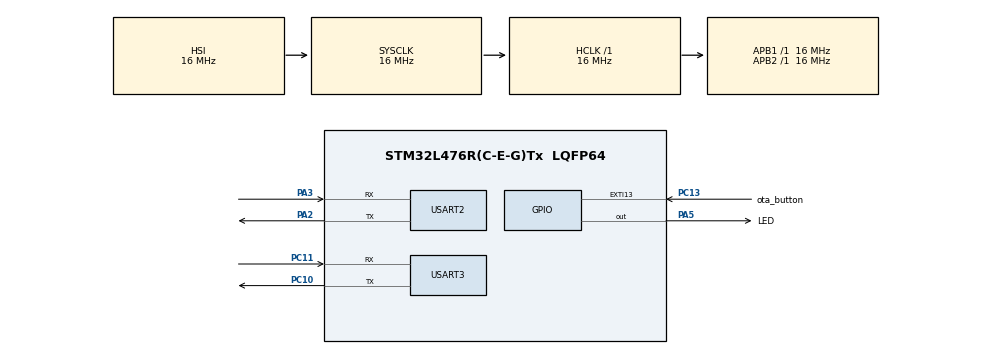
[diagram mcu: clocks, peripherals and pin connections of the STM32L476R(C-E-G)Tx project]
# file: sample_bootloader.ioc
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Mcu.Family=STM32L4
Mcu.Name=STM32L476R(C-E-G)Tx
Mcu.Package=LQFP64
NVIC.EXTI15_10_IRQn=true\:0\:0\:false\:false\:true\:true\:true
NVIC.PriorityGroup=NVIC_PRIORITYGROUP_4
NVIC.USART2_IRQn=true\:0\:0\:false\:false\:true\:true\:true
NVIC.USART3_IRQn=true\:0\:0\:false\:false\:true\:true\:true
PA13\ (JTMS-SWDIO).Mode=Serial_Wire
PA13\ (JTMS-SWDIO).Signal=SYS_JTMS-SWDIO
PA14\ (JTCK-SWCLK).Mode=Serial_Wire
PA14\ (JTCK-SWCLK).Signal=SYS_JTCK-SWCLK
PA2.Mode=Asynchronous
PA2.Signal=USART2_TX
PA3.Mode=Asynchronous
PA3.Signal=USART2_RX
PA5.GPIO_Label=LED
PA5.Signal=GPIO_Output
PC10.Mode=Asynchronous
PC10.Signal=USART3_TX
PC11.Mode=Asynchronous
PC11.Signal=USART3_RX
PC13.GPIO_Label=ota_button
PC13.GPIO_PuPd=GPIO_PULLUP
PC13.Signal=GPXTI13
ProjectManager.HeapSize=0x200
ProjectManager.StackSize=0x400
ProjectManager.TargetToolchain=STM32CubeIDE
RCC.AHBFreq_Value=16000000
RCC.APB1Freq_Value=16000000
RCC.APB1TimFreq_Value=16000000
RCC.APB2Freq_Value=16000000
RCC.APB2TimFreq_Value=16000000
RCC.CortexFreq_Value=16000000
RCC.HCLKFreq_Value=16000000
RCC.HSE_VALUE=8000000
RCC.HSI_VALUE=16000000
RCC.LSE_VALUE=32768
RCC.MSI_VALUE=4000000
RCC.SYSCLKFreq_VALUE=16000000
RCC.SYSCLKSource=RCC_SYSCLKSOURCE_HSI
RCC.VCOOutputFreq_Value=32000000
USART2.VirtualMode-Asynchronous=VM_ASYNC
USART3.VirtualMode-Asynchronous=VM_ASYNC
board=custom

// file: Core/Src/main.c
/* USER CODE BEGIN Header */
/**
  ******************************************************************************
  * @file           : main.c
  * @brief          : Main program body
  ******************************************************************************
  * @attention
  *
  * <h2><center>&copy; Copyright (c) 2021 STMicroelectronics.
  * All rights reserved.</center></h2>
  *
  * This software component is licensed by ST under BSD 3-Clause license,
  * the "License"; You may not use this file except in compliance with the
  * License. You may obtain a copy of the License at:
  *                        opensource.org/licenses/BSD-3-Clause
  *
  ******************************************************************************
  */
/* USER CODE END Header */
#include "main.h"

/* USER CODE BEGIN Includes */
#include <stdio.h>
#include <stdbool.h>
#include <string.h>
#include <stdlib.h>
#include "bootloader_app.h"
/* USER CODE END Includes */

UART_HandleTypeDef huart2;
UART_HandleTypeDef huart3;

/* USER CODE BEGIN PV */

bool application_start = 0;

uint16_t rx_data[8] ={0};
extern uint16_t ota_process_data[8];
extern bool START_OTA_PROCESS;

/* OTA UPDATE requested , total number of packets to be sent
 * OTA_WRITE requested , packet_data */
/* USER CODE END PV */

void SystemClock_Config(void);
static void MX_GPIO_Init(void);
static void MX_USART2_UART_Init(void);
static void MX_USART3_UART_Init(void);

/* USER CODE BEGIN 0 */
//PC10 (USART3_TX) available on CN7 pin 1 to CN3 pin RX
//• PC11 (USART3_RX) available on CN7 pin 2 to CN3 pin RX
/* USER CODE END 0 */

int main(void)
{

  /* MCU Configuration--------------------------------------------------------*/

  /* Reset of all peripherals, Initializes the Flash interface and the Systick. */
  HAL_Init();

  /* Configure the system clock */
  SystemClock_Config();

  /* Initialize all configured peripherals */
  MX_GPIO_Init();
  MX_USART2_UART_Init();
  MX_USART3_UART_Init();
  /* USER CODE BEGIN 2 */
  HAL_GPIO_WritePin (GPIOA, GPIO_PIN_5, GPIO_PIN_RESET);
  HAL_Delay (1000);
  HAL_UART_Receive_IT(&huart3, rx_data, 10);
  /* USER CODE END 2 */

  /* Infinite loop */
  /* USER CODE BEGIN WHILE */
  while (1)
  {
	  if (application_start){
		  application_start = 0;
		  if(Bootloader_CheckForApplication() == 0){
//			  MX_GPIO_DeInit();
			  go_to_application();
		  }
	  }
	 bootloader_process_received_packet_frame();
	 bootloader_process_fsm();
    /* USER CODE END WHILE */

  }
}

void SystemClock_Config(void)
{
  RCC_OscInitTypeDef RCC_OscInitStruct = {0};
  RCC_ClkInitTypeDef RCC_ClkInitStruct = {0};

  /** Configure the main internal regulator output voltage
  */
  if (HAL_PWREx_ControlVoltageScaling(PWR_REGULATOR_VOLTAGE_SCALE1) != HAL_OK)
  {
    Error_Handler();
  }
  /** Initializes the RCC Oscillators according to the specified parameters
  * in the RCC_OscInitTypeDef structure.
  */
  RCC_OscInitStruct.OscillatorType = RCC_OSCILLATORTYPE_HSI;
  RCC_OscInitStruct.HSIState = RCC_HSI_ON;
  RCC_OscInitStruct.HSICalibrationValue = RCC_HSICALIBRATION_DEFAULT;
  RCC_OscInitStruct.PLL.PLLState = RCC_PLL_NONE;
  if (HAL_RCC_OscConfig(&RCC_OscInitStruct) != HAL_OK)
  {
    Error_Handler();
  }
  /** Initializes the CPU, AHB and APB buses clocks
  */
  RCC_ClkInitStruct.ClockType = RCC_CLOCKTYPE_HCLK|RCC_CLOCKTYPE_SYSCLK
                              |RCC_CLOCKTYPE_PCLK1|RCC_CLOCKTYPE_PCLK2;
  RCC_ClkInitStruct.SYSCLKSource = RCC_SYSCLKSOURCE_HSI;
  RCC_ClkInitStruct.AHBCLKDivider = RCC_SYSCLK_DIV1;
  RCC_ClkInitStruct.APB1CLKDivider = RCC_HCLK_DIV1;
  RCC_ClkInitStruct.APB2CLKDivider = RCC_HCLK_DIV1;

  if (HAL_RCC_ClockConfig(&RCC_ClkInitStruct, FLASH_LATENCY_0) != HAL_OK)
  {
    Error_Handler();
  }
}

static void MX_USART2_UART_Init(void)
{

  huart2.Instance = USART2;
  huart2.Init.BaudRate = 115200;
  huart2.Init.WordLength = UART_WORDLENGTH_8B;
  huart2.Init.StopBits = UART_STOPBITS_1;
  huart2.Init.Parity = UART_PARITY_NONE;
  huart2.Init.Mode = UART_MODE_TX_RX;
  huart2.Init.HwFlowCtl = UART_HWCONTROL_NONE;
  huart2.Init.OverSampling = UART_OVERSAMPLING_16;
  huart2.Init.OneBitSampling = UART_ONE_BIT_SAMPLE_DISABLE;
  huart2.AdvancedInit.AdvFeatureInit = UART_ADVFEATURE_NO_INIT;
  if (HAL_UART_Init(&huart2) != HAL_OK)
  {
    Error_Handler();
  }

}

static void MX_USART3_UART_Init(void)
{

  huart3.Instance = USART3;
  huart3.Init.BaudRate = 115200;
  huart3.Init.WordLength = UART_WORDLENGTH_8B;
  huart3.Init.StopBits = UART_STOPBITS_1;
  huart3.Init.Parity = UART_PARITY_NONE;
  huart3.Init.Mode = UART_MODE_TX_RX;
  huart3.Init.HwFlowCtl = UART_HWCONTROL_NONE;
  huart3.Init.OverSampling = UART_OVERSAMPLING_16;
  huart3.Init.OneBitSampling = UART_ONE_BIT_SAMPLE_DISABLE;
  huart3.AdvancedInit.AdvFeatureInit = UART_ADVFEATURE_NO_INIT;
  if (HAL_UART_Init(&huart3) != HAL_OK)
  {
    Error_Handler();
  }

}

static void MX_GPIO_Init(void)
{
  GPIO_InitTypeDef GPIO_InitStruct = {0};

  /* GPIO Ports Clock Enable */
  __HAL_RCC_GPIOC_CLK_ENABLE();
  __HAL_RCC_GPIOA_CLK_ENABLE();

  /*Configure GPIO pin Output Level */
  HAL_GPIO_WritePin(LED_GPIO_Port, LED_Pin, GPIO_PIN_RESET);

  /*Configure GPIO pin : ota_button_Pin */
  GPIO_InitStruct.Pin = ota_button_Pin;
  GPIO_InitStruct.Mode = GPIO_MODE_IT_RISING;
  GPIO_InitStruct.Pull = GPIO_PULLUP;
  HAL_GPIO_Init(ota_button_GPIO_Port, &GPIO_InitStruct);

  /*Configure GPIO pin : LED_Pin */
  GPIO_InitStruct.Pin = LED_Pin;
  GPIO_InitStruct.Mode = GPIO_MODE_OUTPUT_PP;
  GPIO_InitStruct.Pull = GPIO_NOPULL;
  GPIO_InitStruct.Speed = GPIO_SPEED_FREQ_LOW;
  HAL_GPIO_Init(LED_GPIO_Port, &GPIO_InitStruct);

  /* EXTI interrupt init*/
  HAL_NVIC_SetPriority(EXTI15_10_IRQn, 0, 0);
  HAL_NVIC_EnableIRQ(EXTI15_10_IRQn);

}

/* USER CODE BEGIN 4 */

void MX_GPIO_DeInit(void)
{
  /* EXTI interrupt init*/
  //HAL_NVIC_SetPriority(EXTI9_5_IRQn, 0, 0);
  HAL_NVIC_DisableIRQ(EXTI15_10_IRQn);

  /* GPIO Ports Clock Enable */
  __HAL_RCC_GPIOA_CLK_DISABLE();
  __HAL_RCC_GPIOC_CLK_DISABLE();

  /*Configure GPIO pin : LED_Pin */
  HAL_GPIO_DeInit(LED_GPIO_Port, LED_Pin);
  HAL_GPIO_DeInit(ota_button_GPIO_Port, ota_button_Pin);

}
void HAL_GPIO_EXTI_Callback(uint16_t GPIO_Pin){
	if(GPIO_Pin == ota_button_Pin){
		application_start = 1;
	}
}
void HAL_UART_RxCpltCallback(UART_HandleTypeDef *huart){
	ota_process_data[0] = rx_data[0];
	ota_process_data[1] = rx_data[1];
	ota_process_data[2] = rx_data[2];
	ota_process_data[3] = rx_data[3];
	ota_process_data[4] = rx_data[4];
	ota_process_data[5] = rx_data[5];
	ota_process_data[6] = rx_data[6];
	ota_process_data[7] = rx_data[7];
	START_OTA_PROCESS = 1;
	HAL_UART_Receive_IT(&huart3, rx_data, 10);
}
/* USER CODE END 4 */

void Error_Handler(void)
{
  __disable_irq();
  while (1)
  {
  }
}

/************************ (C) COPYRIGHT STMicroelectronics *****END OF FILE****/
